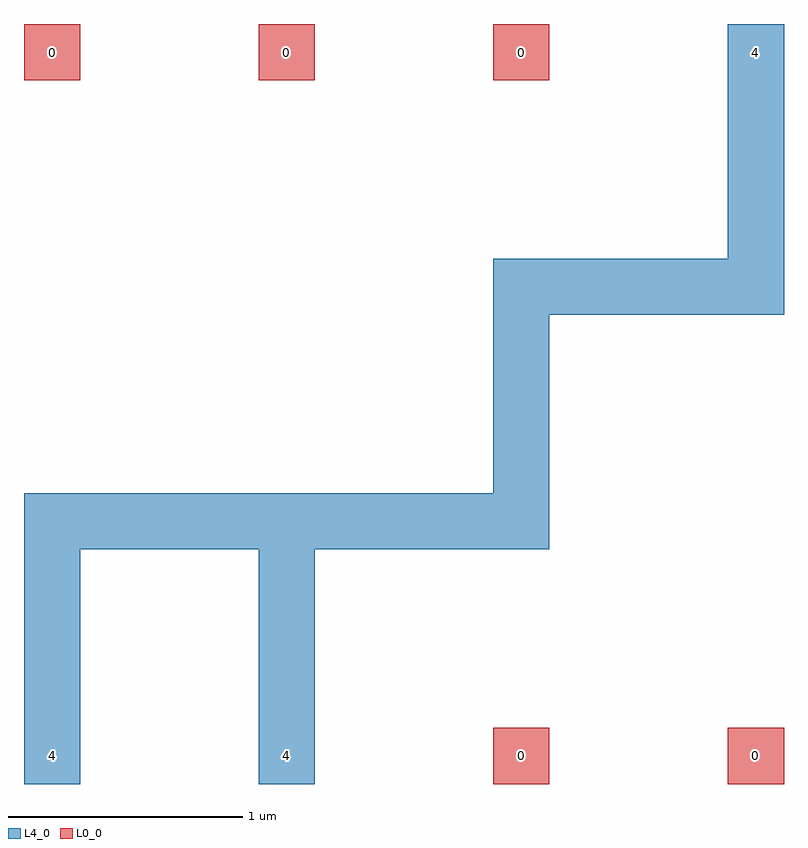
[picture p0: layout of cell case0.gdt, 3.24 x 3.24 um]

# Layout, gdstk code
import gdstk
lib = gdstk.Library(unit=1e-6, precision=1e-09)
def R(c, l, rs):  # rectangles x0, y0, x1, y1
    for r in rs: c.add(gdstk.rectangle(r[:2], r[2:], *l))
def A(c, l, x, y, w, h, nx, ny, dx, dy):  # array of equal rectangles
    R(c, l, [(x+i*dx, y+j*dy, x+i*dx+w, y+j*dy+h) for i in range(nx) for j in range(ny)])
L0_0 = (0, 0)
L4_0 = (4, 0)

case0_gdt = lib.new_cell('case0.gdt')
A(case0_gdt, L0_0, -0.12, 2.88, 0.24, 0.24, 3, 1, 1, 0)
R(case0_gdt, L0_0, [(1.88,-0.12,2.12,0.12), (2.88,-0.12,3.12,0.12)])
R(case0_gdt, L4_0, [(-0.12,-0.12,0.12,1.12), (-0.12,-0.12,0.12,0.12), (0.88,-0.12,1.12,1.12), (0.88,-0.12,1.12,0.12), (-0.12,0.88,2.12,1.12), (1.88,0.88,2.12,2.12), (1.88,1.88,3.12,2.12), (2.88,1.88,3.12,3.12), (2.88,2.88,3.12,3.12)])
case0_gdt.add(gdstk.Label('0', (0,3), layer=215, texttype=1))
case0_gdt.add(gdstk.Label('0', (1,3), layer=215, texttype=1))
case0_gdt.add(gdstk.Label('0', (2,3), layer=215, texttype=1))
case0_gdt.add(gdstk.Label('4', (3,3), layer=215, texttype=1))
case0_gdt.add(gdstk.Label('4', (0,0), layer=215, texttype=1))
case0_gdt.add(gdstk.Label('4', (1,0), layer=215, texttype=1))
case0_gdt.add(gdstk.Label('0', (2,0), layer=215, texttype=1))
case0_gdt.add(gdstk.Label('0', (3,0), layer=215, texttype=1))

lib.write_gds('case0.gdt.gds')
